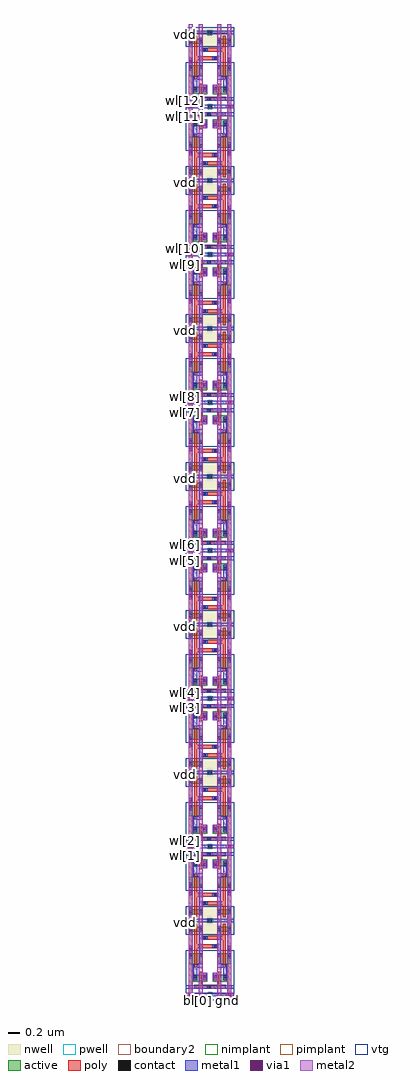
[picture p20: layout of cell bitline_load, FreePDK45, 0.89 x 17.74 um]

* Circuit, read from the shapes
.subckt bitline_load bl[0] br[0] gnd vdd wl[0] wl[10] wl[11] wl[12] wl[1] wl[2] wl[3] wl[4] wl[5] wl[6] wl[7] wl[8] wl[9]
M1 n1 n2 gnd gnd nfet w=0.205u l=0.05u
M2 n3 n4 gnd gnd nfet w=0.205u l=0.05u
M3 n5 n6 gnd gnd nfet w=0.205u l=0.05u
M4 n7 n8 gnd gnd nfet w=0.205u l=0.05u
M5 n9 n10 gnd gnd nfet w=0.205u l=0.05u
M6 n11 n12 gnd gnd nfet w=0.205u l=0.05u
M7 n13 n14 gnd gnd nfet w=0.205u l=0.05u
M8 n15 n16 gnd gnd nfet w=0.205u l=0.05u
M9 n17 n18 gnd gnd nfet w=0.205u l=0.05u
M10 n19 n20 gnd gnd nfet w=0.205u l=0.05u
M11 n21 n22 gnd gnd nfet w=0.205u l=0.05u
M12 n23 n24 gnd gnd nfet w=0.205u l=0.05u
M13 n25 n26 gnd gnd nfet w=0.205u l=0.05u
M14 bl[0] wl[0] n1 gnd nfet w=0.135u l=0.05u
M15 bl[0] wl[1] n3 gnd nfet w=0.135u l=0.05u
M16 bl[0] wl[2] n5 gnd nfet w=0.135u l=0.05u
M17 bl[0] wl[3] n7 gnd nfet w=0.135u l=0.05u
M18 bl[0] wl[4] n9 gnd nfet w=0.135u l=0.05u
M19 bl[0] wl[5] n11 gnd nfet w=0.135u l=0.05u
M20 bl[0] wl[6] n13 gnd nfet w=0.135u l=0.05u
M21 bl[0] wl[7] n15 gnd nfet w=0.135u l=0.05u
M22 bl[0] wl[8] n17 gnd nfet w=0.135u l=0.05u
M23 bl[0] wl[9] n19 gnd nfet w=0.135u l=0.05u
M24 bl[0] wl[10] n21 gnd nfet w=0.135u l=0.05u
M25 bl[0] wl[11] n23 gnd nfet w=0.135u l=0.05u
M26 bl[0] wl[12] n25 gnd nfet w=0.135u l=0.05u
M27 n2 wl[0] br[0] gnd nfet w=0.135u l=0.05u
M28 n4 wl[1] br[0] gnd nfet w=0.135u l=0.05u
M29 n6 wl[2] br[0] gnd nfet w=0.135u l=0.05u
M30 n8 wl[3] br[0] gnd nfet w=0.135u l=0.05u
M31 n10 wl[4] br[0] gnd nfet w=0.135u l=0.05u
M32 n12 wl[5] br[0] gnd nfet w=0.135u l=0.05u
M33 n14 wl[6] br[0] gnd nfet w=0.135u l=0.05u
M34 n16 wl[7] br[0] gnd nfet w=0.135u l=0.05u
M35 n18 wl[8] br[0] gnd nfet w=0.135u l=0.05u
M36 n20 wl[9] br[0] gnd nfet w=0.135u l=0.05u
M37 n22 wl[10] br[0] gnd nfet w=0.135u l=0.05u
M38 n24 wl[11] br[0] gnd nfet w=0.135u l=0.05u
M39 n26 wl[12] br[0] gnd nfet w=0.135u l=0.05u
M40 gnd n1 n2 gnd nfet w=0.205u l=0.05u
M41 gnd n3 n4 gnd nfet w=0.205u l=0.05u
M42 gnd n5 n6 gnd nfet w=0.205u l=0.05u
M43 gnd n7 n8 gnd nfet w=0.205u l=0.05u
M44 gnd n9 n10 gnd nfet w=0.205u l=0.05u
M45 gnd n11 n12 gnd nfet w=0.205u l=0.05u
M46 gnd n13 n14 gnd nfet w=0.205u l=0.05u
M47 gnd n15 n16 gnd nfet w=0.205u l=0.05u
M48 gnd n17 n18 gnd nfet w=0.205u l=0.05u
M49 gnd n19 n20 gnd nfet w=0.205u l=0.05u
M50 gnd n21 n22 gnd nfet w=0.205u l=0.05u
M51 gnd n23 n24 gnd nfet w=0.205u l=0.05u
M52 gnd n25 n26 gnd nfet w=0.205u l=0.05u
M53 n1 n2 vdd vdd pfet w=0.09u l=0.05u
M54 n3 n4 vdd vdd pfet w=0.09u l=0.05u
M55 n5 n6 vdd vdd pfet w=0.09u l=0.05u
M56 n7 n8 vdd vdd pfet w=0.09u l=0.05u
M57 n9 n10 vdd vdd pfet w=0.09u l=0.05u
M58 n11 n12 vdd vdd pfet w=0.09u l=0.05u
M59 n13 n14 vdd vdd pfet w=0.09u l=0.05u
M60 n15 n16 vdd vdd pfet w=0.09u l=0.05u
M61 n17 n18 vdd vdd pfet w=0.09u l=0.05u
M62 n19 n20 vdd vdd pfet w=0.09u l=0.05u
M63 n21 n22 vdd vdd pfet w=0.09u l=0.05u
M64 n23 n24 vdd vdd pfet w=0.09u l=0.05u
M65 n25 n26 vdd vdd pfet w=0.09u l=0.05u
M66 vdd n1 n2 vdd pfet w=0.09u l=0.05u
M67 vdd n3 n4 vdd pfet w=0.09u l=0.05u
M68 vdd n5 n6 vdd pfet w=0.09u l=0.05u
M69 vdd n7 n8 vdd pfet w=0.09u l=0.05u
M70 vdd n9 n10 vdd pfet w=0.09u l=0.05u
M71 vdd n11 n12 vdd pfet w=0.09u l=0.05u
M72 vdd n13 n14 vdd pfet w=0.09u l=0.05u
M73 vdd n15 n16 vdd pfet w=0.09u l=0.05u
M74 vdd n17 n18 vdd pfet w=0.09u l=0.05u
M75 vdd n19 n20 vdd pfet w=0.09u l=0.05u
M76 vdd n21 n22 vdd pfet w=0.09u l=0.05u
M77 vdd n23 n24 vdd pfet w=0.09u l=0.05u
M78 vdd n25 n26 vdd pfet w=0.09u l=0.05u
.ends

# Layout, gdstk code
import gdstk
lib = gdstk.Library(unit=1e-6, precision=5e-10)
def R(c, l, rs):  # rectangles x0, y0, x1, y1
    for r in rs: c.add(gdstk.rectangle(r[:2], r[2:], *l))
active = (1, 0)
pwell = (2, 0)
nwell = (3, 0)
nimplant = (4, 0)
pimplant = (5, 0)
vtg = (6, 0)
poly = (9, 0)
contact = (10, 0)
metal1 = (11, 0)
via1 = (12, 0)
metal2 = (13, 0)
boundary2 = (239, 0)

cell_6t = lib.new_cell('cell_6t')
R(cell_6t, active, [(0.3075,-0.045,0.3975,0.045), (0.3075,-0.045,0.3975,0.045), (0.045,0.2275,0.305,0.3625), (0.045,0.2275,0.12,0.3625), (0.045,0.2275,0.12,0.3625), (0.23,0.2275,0.305,0.3625), (0.23,0.2275,0.305,0.3625), (0.4,0.2275,0.66,0.3625), (0.4,0.2275,0.475,0.3625), (0.4,0.2275,0.475,0.3625), (0.585,0.2275,0.66,0.3625), (0.585,0.2275,0.66,0.3625), (0.045,0.2875,0.12,0.3625), (0.23,0.2875,0.305,0.3625), (0.4,0.2875,0.475,0.3625), (0.585,0.2875,0.66,0.3625), (-0.035,0.5475,0.225,0.7525), (-0.035,0.5475,0.04,0.7525), (-0.035,0.5475,0.04,0.7525), (0.15,0.5475,0.225,0.7525), (0.15,0.5475,0.225,0.7525), (0.48,0.5475,0.74,0.7525), (0.48,0.5475,0.555,0.7525), (0.48,0.5475,0.555,0.7525), (0.665,0.5475,0.74,0.7525), (0.665,0.5475,0.74,0.7525), (-0.035,0.6775,0.04,0.7525), (0.15,0.6775,0.225,0.7525), (0.48,0.6775,0.555,0.7525), (0.665,0.6775,0.74,0.7525), (-0.035,1.1425,0.04,1.2175), (-0.035,1.1425,0.225,1.2325), (-0.035,1.1425,0.04,1.2325), (-0.035,1.1425,0.04,1.2325), (0.15,1.1425,0.225,1.2175), (0.15,1.1425,0.225,1.2325), (0.15,1.1425,0.225,1.2325), (0.48,1.1425,0.555,1.2175), (0.48,1.1425,0.74,1.2325), (0.48,1.1425,0.555,1.2325), (0.48,1.1425,0.555,1.2325), (0.665,1.1425,0.74,1.2175), (0.665,1.1425,0.74,1.2325), (0.665,1.1425,0.74,1.2325), (0.3025,1.3,0.3925,1.39), (0.3025,1.3,0.3925,1.39)])
R(cell_6t, pwell, [(-0.09,-0.1,0.795,0.8075), (0.2525,-0.1,0.4525,0.1), (0.2525,-0.1,0.4525,0.1), (-0.01,0.1725,0.36,0.4175), (0.345,0.1725,0.715,0.4175), (-0.09,0.4925,0.28,0.8075), (0.425,0.4925,0.795,0.8075)])
R(cell_6t, nwell, [(-0.09,1.0875,0.28,1.2875), (-0.09,1.0875,0.795,1.445), (0.425,1.0875,0.795,1.2875), (0.2475,1.245,0.4475,1.445), (0.2475,1.245,0.4475,1.445)])
R(cell_6t, nimplant, [(0.045,0.2275,0.305,0.3625), (0.4,0.2275,0.66,0.3625), (-0.035,0.5475,0.225,0.7525), (0.48,0.5475,0.74,0.7525), (0.3025,1.3,0.3925,1.39), (0.3025,1.3,0.3925,1.39)])
R(cell_6t, pimplant, [(0.3075,-0.045,0.3975,0.045), (0.3075,-0.045,0.3975,0.045), (-0.035,1.1425,0.225,1.2325), (0.48,1.1425,0.74,1.2325)])
R(cell_6t, vtg, [(-0.09,-0.1,0.795,0.8075), (-0.01,0.1725,0.36,0.4175), (0.345,0.1725,0.715,0.4175), (-0.09,0.4925,0.28,0.8075), (0.425,0.4925,0.795,0.8075), (-0.09,1.0875,0.28,1.2875), (-0.09,1.0875,0.795,1.445), (0.425,1.0875,0.795,1.2875)])
R(cell_6t, poly, [(0.07,0.1025,0.635,0.1775), (0.2975,0.1025,0.3725,0.1775), (0.15,0.1725,0.2,0.2275), (0.15,0.1725,0.2,0.4175), (0.505,0.1725,0.555,0.2275), (0.505,0.1725,0.555,0.4175), (0.15,0.3625,0.2,0.4175), (0.505,0.3625,0.555,0.4175), (0.07,0.4925,0.12,0.5475), (0.07,0.4925,0.12,0.8075), (0.585,0.4925,0.635,0.5475), (0.585,0.4925,0.635,0.8075), (0.07,0.7525,0.12,0.8075), (0.585,0.7525,0.635,0.8075), (0.07,0.8075,0.12,1.0875), (0.07,0.8075,0.12,1.0875), (0.585,0.8075,0.635,1.0875), (0.585,0.8075,0.635,1.0875), (0.07,0.8425,0.5025,0.9175), (0.4275,0.8425,0.5025,0.9175), (0.4275,0.8425,0.5025,0.9175), (0.2025,0.9925,0.2775,1.0675), (0.2025,0.9925,0.2775,1.0675), (0.2025,0.9925,0.635,1.0675), (0.07,1.0875,0.12,1.1425), (0.07,1.0875,0.12,1.2875), (0.585,1.0875,0.635,1.1425), (0.585,1.0875,0.635,1.2875), (0.07,1.2325,0.12,1.2875), (0.585,1.2325,0.635,1.2875)])
R(cell_6t, contact, [(0.32,-0.0325,0.385,0.0325), (0.32,-0.0325,0.385,0.0325), (0.3025,0.1075,0.3675,0.1725), (0.05,0.2925,0.115,0.3575), (0.235,0.2925,0.3,0.3575), (0.405,0.2925,0.47,0.3575), (0.59,0.2925,0.655,0.3575), (-0.03,0.6825,0.035,0.7475), (0.155,0.6825,0.22,0.7475), (0.485,0.6825,0.55,0.7475), (0.67,0.6825,0.735,0.7475), (0.4325,0.8475,0.4975,0.9125), (0.4325,0.8475,0.4975,0.9125), (0.2075,0.9975,0.2725,1.0625), (0.2075,0.9975,0.2725,1.0625), (-0.03,1.1475,0.035,1.2125), (0.155,1.1475,0.22,1.2125), (0.485,1.1475,0.55,1.2125), (0.67,1.1475,0.735,1.2125), (0.315,1.3125,0.38,1.3775), (0.315,1.3125,0.38,1.3775)])
R(cell_6t, metal1, [(-0.09,-0.0325,0.795,0.0325), (-0.09,-0.0325,0.795,0.0325), (-0.0675,-0.0325,0.0675,0.0325), (-0.0675,-0.0325,0.0675,0.0325), (0.285,-0.0325,0.42,0.0325), (0.285,-0.0325,0.42,0.0325), (0.6375,-0.0325,0.7725,0.0325), (0.6375,-0.0325,0.7725,0.0325), (0.6375,-0.0325,0.7725,0.0325), (0.6375,-0.0325,0.7725,0.0325), (-0.09,0.1075,0.795,0.1725), (-0.09,0.1075,0.795,0.1725), (0.2675,0.1075,0.4025,0.1725), (-0.085,0.11,-0.0325,0.1725), (0.62,0.11,0.6725,0.1725), (0.05,0.2575,0.115,0.3925), (0.05,0.2575,0.12,0.5475), (0.2225,0.2575,0.2875,0.3925), (0.235,0.2575,0.3,0.3925), (0.405,0.2575,0.47,0.3925), (0.4175,0.2575,0.4825,0.3925), (0.59,0.2575,0.655,0.3925), (0.59,0.2575,0.66,0.5475), (0.05,0.4825,0.22,0.5475), (0.155,0.4825,0.22,1.2225), (0.485,0.4825,0.66,0.5475), (0.485,0.4825,0.55,1.1125), (-0.035,0.6475,0.035,0.7825), (-0.035,0.6475,0.035,0.7825), (-0.03,0.6475,0.035,0.7825), (0.155,0.6475,0.22,0.7825), (0.485,0.6475,0.55,0.7825), (0.67,0.6475,0.735,0.7825), (0.67,0.6475,0.74,0.7825), (0.67,0.6475,0.74,0.7825), (0.67,0.6475,0.74,0.7825), (0.67,0.6475,0.74,0.7825), (0.67,0.6475,0.74,0.7825), (0.67,0.6475,0.74,0.7825), (-0.0325,0.75,0.0325,0.885), (-0.0325,0.75,0.0325,0.885), (-0.0325,0.75,0.0325,0.885), (-0.0325,0.75,0.0325,0.885), (-0.0325,0.75,0.0325,0.885), (-0.0325,0.75,0.0325,0.885), (0.6725,0.75,0.7375,0.885), (0.6725,0.75,0.7375,0.885), (0.6725,0.75,0.7375,0.885), (0.6725,0.75,0.7375,0.885), (0.6725,0.75,0.7375,0.885), (0.6725,0.75,0.7375,0.885), (0.6725,0.75,0.7375,0.885), (0.6725,0.75,0.7375,0.885), (0.6725,0.75,0.7375,0.885), (0.6725,0.75,0.7375,0.885), (0.6725,0.75,0.7375,0.885), (0.6725,0.75,0.7375,0.885), (0.6725,0.75,0.7375,0.885), (0.6725,0.75,0.7375,0.885), (0.6725,0.75,0.7375,0.885), (0.6725,0.75,0.7375,0.885), (0.6725,0.75,0.7375,0.885), (0.6725,0.75,0.7375,0.885), (0.6725,0.75,0.7375,0.885), (0.6725,0.75,0.7375,0.885), (0.6725,0.75,0.7375,0.885), (0.6725,0.75,0.7375,0.885), (0.6725,0.75,0.7375,0.885), (0.6725,0.75,0.7375,0.885), (0.3975,0.8475,0.5325,0.9125), (0.3975,0.8475,0.5325,0.9125), (0.1725,0.9975,0.3075,1.0625), (0.1725,0.9975,0.3075,1.0625), (-0.035,1.1125,0.035,1.3125), (-0.03,1.1125,0.035,1.2475), (0.155,1.1125,0.22,1.2475), (0.485,1.1125,0.55,1.2475), (0.67,1.1125,0.735,1.2475), (0.67,1.1125,0.74,1.3125), (0.67,1.1125,0.74,1.3125), (-0.09,1.3125,0.795,1.3775), (-0.09,1.3125,0.795,1.3775), (0.28,1.3125,0.415,1.3775), (0.28,1.3125,0.415,1.3775), (0.2925,1.3125,0.3925,1.375), (0.2925,1.3125,0.3925,1.375), (0.2925,1.315,0.3925,1.3775), (0.2925,1.315,0.3925,1.3775)])
R(cell_6t, via1, [(-0.0325,-0.0325,0.0325,0.0325), (-0.0325,-0.0325,0.0325,0.0325), (0.6725,-0.0325,0.7375,0.0325), (0.6725,-0.0325,0.7375,0.0325), (0.6725,-0.0325,0.7375,0.0325), (0.6725,-0.0325,0.7375,0.0325), (0.2225,0.2925,0.2875,0.3575), (0.4175,0.2925,0.4825,0.3575), (-0.0325,0.785,0.0325,0.85), (-0.0325,0.785,0.0325,0.85), (-0.0325,0.785,0.0325,0.85), (-0.0325,0.785,0.0325,0.85), (-0.0325,0.785,0.0325,0.85), (-0.0325,0.785,0.0325,0.85), (0.6725,0.785,0.7375,0.85), (0.6725,0.785,0.7375,0.85), (0.6725,0.785,0.7375,0.85), (0.6725,0.785,0.7375,0.85), (0.6725,0.785,0.7375,0.85), (0.6725,0.785,0.7375,0.85), (0.6725,0.785,0.7375,0.85), (0.6725,0.785,0.7375,0.85), (0.6725,0.785,0.7375,0.85), (0.6725,0.785,0.7375,0.85), (0.6725,0.785,0.7375,0.85), (0.6725,0.785,0.7375,0.85), (0.6725,0.785,0.7375,0.85), (0.6725,0.785,0.7375,0.85), (0.6725,0.785,0.7375,0.85), (0.6725,0.785,0.7375,0.85), (0.6725,0.785,0.7375,0.85), (0.6725,0.785,0.7375,0.85), (0.6725,0.785,0.7375,0.85), (0.6725,0.785,0.7375,0.85), (0.6725,0.785,0.7375,0.85), (0.6725,0.785,0.7375,0.85), (0.6725,0.785,0.7375,0.85), (0.6725,0.785,0.7375,0.85)])
R(cell_6t, metal2, [(-0.035,-0.1,0.035,1.445), (-0.035,-0.1,0.035,1.445), (0.15,-0.1,0.22,1.445), (0.15,-0.1,0.22,1.445), (0.485,-0.1,0.555,1.445), (0.485,-0.1,0.555,1.445), (0.67,-0.1,0.74,1.445), (0.67,-0.1,0.74,1.445), (-0.0675,-0.035,0.0675,0.035), (-0.0675,-0.035,0.0675,0.035), (0.6375,-0.035,0.7725,0.035), (0.6375,-0.035,0.7725,0.035), (0.6375,-0.035,0.7725,0.035), (0.6375,-0.035,0.7725,0.035), (0.4925,-0.0325,0.55,0.0275), (0.67,-0.0325,0.74,1.3775), (-0.03,-0.03,0.03,0.0275), (0.1575,-0.025,0.2125,0.0275), (0.675,-0.025,0.735,0.0325), (0.22,0.2575,0.29,0.3925), (0.415,0.2575,0.485,0.3925), (-0.035,0.75,0.035,0.885), (-0.035,0.75,0.035,0.885), (-0.035,0.75,0.035,0.885), (-0.035,0.75,0.035,0.885), (-0.035,0.75,0.035,0.885), (-0.035,0.75,0.035,0.885), (0.67,0.75,0.74,0.885), (0.67,0.75,0.74,0.885), (0.67,0.75,0.74,0.885), (0.67,0.75,0.74,0.885), (0.67,0.75,0.74,0.885), (0.67,0.75,0.74,0.885), (0.67,0.75,0.74,0.885), (0.67,0.75,0.74,0.885), (0.67,0.75,0.74,0.885), (0.67,0.75,0.74,0.885), (0.67,0.75,0.74,0.885), (0.67,0.75,0.74,0.885), (0.67,0.75,0.74,0.885), (0.67,0.75,0.74,0.885), (0.67,0.75,0.74,0.885), (0.67,0.75,0.74,0.885), (0.67,0.75,0.74,0.885), (0.67,0.75,0.74,0.885), (0.67,0.75,0.74,0.885), (0.67,0.75,0.74,0.885), (0.67,0.75,0.74,0.885), (0.67,0.75,0.74,0.885), (0.67,0.75,0.74,0.885), (0.67,0.75,0.74,0.885)])
R(cell_6t, boundary2, [(0,0,0.705,1.345)])
cell_6t.add(gdstk.Label('gnd', (0,0.0175), layer=13, texttype=0))
cell_6t.add(gdstk.Label('gnd', (0.7025,0.015), layer=13, texttype=0))
cell_6t.add(gdstk.Label('BR', (0.52,0.0025), layer=13, texttype=0))
cell_6t.add(gdstk.Label('BL', (0.19,0.0025), layer=13, texttype=0))
cell_6t.add(gdstk.Label('l = 0.05', (0.645,1.1875), layer=230, texttype=0))
cell_6t.add(gdstk.Label('w = 0.09', (0.61,1.2975), layer=230, texttype=0))
cell_6t.add(gdstk.Label('l = 0.05', (0.06,1.1875), layer=230, texttype=0))
cell_6t.add(gdstk.Label('w = 0.09', (0.095,1.2975), layer=230, texttype=0))
cell_6t.add(gdstk.Label('l = 0.05', (0.575,0.65), layer=230, texttype=0))
cell_6t.add(gdstk.Label('w = 0.21', (0.61,0.4825), layer=230, texttype=0))
cell_6t.add(gdstk.Label('l = 0.05', (0.13,0.65), layer=230, texttype=0))
cell_6t.add(gdstk.Label('w = 0.21', (0.095,0.4825), layer=230, texttype=0))
cell_6t.add(gdstk.Label('l = 0.05', (0.565,0.295), layer=230, texttype=0))
cell_6t.add(gdstk.Label('w = 0.14', (0.53,0.1625), layer=230, texttype=0))
cell_6t.add(gdstk.Label('l = 0.05', (0.21,0.295), layer=230, texttype=0))
cell_6t.add(gdstk.Label('w = 0.14', (0.175,0.1625), layer=230, texttype=0))
cell_6t.add(gdstk.Label('vdd', (0.3425,1.355), layer=11, texttype=0))
cell_6t.add(gdstk.Label('WL', (-0.05,0.1475), layer=11, texttype=0))
cell_6t.add(gdstk.Label('gnd', (0.0875,-0.0075), layer=11, texttype=0))
cell_6t.add(gdstk.Label('BL', (0.15,-0.1), layer=13, texttype=0))
cell_6t.add(gdstk.Label('WL', (-0.09,0.1075), layer=11, texttype=0))
cell_6t.add(gdstk.Label('gnd', (-0.035,-0.1), layer=13, texttype=0))
cell_6t.add(gdstk.Label('gnd', (0.67,-0.1), layer=13, texttype=0))
cell_6t.add(gdstk.Label('gnd', (-0.09,-0.0325), layer=11, texttype=0))
cell_6t.add(gdstk.Label('vdd', (-0.09,1.3125), layer=11, texttype=0))
cell_6t.add(gdstk.Label('BR', (0.485,-0.1), layer=13, texttype=0))

bitline_load = lib.new_cell('bitline_load')
R(bitline_load, metal1, [(-0.09,-0.0325,0.795,0.0325), (-0.09,-0.0325,0.795,0.0325), (-0.09,0.1075,0.795,0.1725), (-0.09,0.1075,0.795,0.1725), (-0.09,1.3125,0.795,1.3775), (-0.09,1.3125,0.795,1.3775), (-0.09,2.5175,0.795,2.5825), (-0.09,2.5175,0.795,2.5825), (-0.09,2.6575,0.795,2.7225), (-0.09,2.6575,0.795,2.7225), (-0.09,2.7975,0.795,2.8625), (-0.09,2.7975,0.795,2.8625), (-0.09,4.0025,0.795,4.0675), (-0.09,4.0025,0.795,4.0675), (-0.09,5.2075,0.795,5.2725), (-0.09,5.2075,0.795,5.2725), (-0.09,5.3475,0.795,5.4125), (-0.09,5.3475,0.795,5.4125), (-0.09,5.4875,0.795,5.5525), (-0.09,5.4875,0.795,5.5525), (-0.09,6.6925,0.795,6.7575), (-0.09,6.6925,0.795,6.7575), (-0.09,7.8975,0.795,7.9625), (-0.09,7.8975,0.795,7.9625), (-0.09,8.0375,0.795,8.1025), (-0.09,8.0375,0.795,8.1025), (-0.09,8.1775,0.795,8.2425), (-0.09,8.1775,0.795,8.2425), (-0.09,9.3825,0.795,9.4475), (-0.09,9.3825,0.795,9.4475), (-0.09,10.5875,0.795,10.6525), (-0.09,10.5875,0.795,10.6525), (-0.09,10.7275,0.795,10.7925), (-0.09,10.7275,0.795,10.7925), (-0.09,10.8675,0.795,10.9325), (-0.09,10.8675,0.795,10.9325), (-0.09,12.0725,0.795,12.1375), (-0.09,12.0725,0.795,12.1375), (-0.09,13.2775,0.795,13.3425), (-0.09,13.2775,0.795,13.3425), (-0.09,13.4175,0.795,13.4825), (-0.09,13.4175,0.795,13.4825), (-0.09,13.5575,0.795,13.6225), (-0.09,13.5575,0.795,13.6225), (-0.09,14.7625,0.795,14.8275), (-0.09,14.7625,0.795,14.8275), (-0.09,15.9675,0.795,16.0325), (-0.09,15.9675,0.795,16.0325), (-0.09,16.1075,0.795,16.1725), (-0.09,16.1075,0.795,16.1725), (-0.09,16.2475,0.795,16.3125), (-0.09,16.2475,0.795,16.3125), (-0.09,17.4525,0.795,17.5175), (-0.09,17.4525,0.795,17.5175)])
R(bitline_load, metal2, [(-0.035,-0.1,0.035,17.64), (-0.035,-0.1,0.035,17.64), (0.15,-0.1,0.22,17.64), (0.15,-0.1,0.22,17.64), (0.485,-0.1,0.555,17.64), (0.485,-0.1,0.555,17.64), (0.67,-0.1,0.74,17.64), (0.67,-0.1,0.74,17.64)])
bitline_load.add(gdstk.Reference(cell_6t, (0,0)))
bitline_load.add(gdstk.Reference(cell_6t, (0,2.69), x_reflection=True))
bitline_load.add(gdstk.Reference(cell_6t, (0,2.69)))
bitline_load.add(gdstk.Reference(cell_6t, (0,5.38), x_reflection=True))
bitline_load.add(gdstk.Reference(cell_6t, (0,5.38)))
bitline_load.add(gdstk.Reference(cell_6t, (0,8.07), x_reflection=True))
bitline_load.add(gdstk.Reference(cell_6t, (0,8.07)))
bitline_load.add(gdstk.Reference(cell_6t, (0,10.76), x_reflection=True))
bitline_load.add(gdstk.Reference(cell_6t, (0,10.76)))
bitline_load.add(gdstk.Reference(cell_6t, (0,13.45), x_reflection=True))
bitline_load.add(gdstk.Reference(cell_6t, (0,13.45)))
bitline_load.add(gdstk.Reference(cell_6t, (0,16.14), x_reflection=True))
bitline_load.add(gdstk.Reference(cell_6t, (0,16.14)))
bitline_load.add(gdstk.Reference(cell_6t, (0,0)))
bitline_load.add(gdstk.Reference(cell_6t, (0,2.69), x_reflection=True))
bitline_load.add(gdstk.Reference(cell_6t, (0,2.69)))
bitline_load.add(gdstk.Reference(cell_6t, (0,5.38), x_reflection=True))
bitline_load.add(gdstk.Reference(cell_6t, (0,5.38)))
bitline_load.add(gdstk.Reference(cell_6t, (0,8.07), x_reflection=True))
bitline_load.add(gdstk.Reference(cell_6t, (0,8.07)))
bitline_load.add(gdstk.Reference(cell_6t, (0,10.76), x_reflection=True))
bitline_load.add(gdstk.Reference(cell_6t, (0,10.76)))
bitline_load.add(gdstk.Reference(cell_6t, (0,13.45), x_reflection=True))
bitline_load.add(gdstk.Reference(cell_6t, (0,13.45)))
bitline_load.add(gdstk.Reference(cell_6t, (0,16.14), x_reflection=True))
bitline_load.add(gdstk.Reference(cell_6t, (0,16.14)))
bitline_load.add(gdstk.Label('wl[3]', (-0.09,5.2075), layer=11, texttype=0))
bitline_load.add(gdstk.Label('wl[4]', (-0.09,5.4875), layer=11, texttype=0))
bitline_load.add(gdstk.Label('bl[0]', (0.15,-0.1), layer=13, texttype=0))
bitline_load.add(gdstk.Label('wl[5]', (-0.09,7.8975), layer=11, texttype=0))
bitline_load.add(gdstk.Label('wl[0]', (-0.09,0.1075), layer=11, texttype=0))
bitline_load.add(gdstk.Label('wl[1]', (-0.09,2.5175), layer=11, texttype=0))
bitline_load.add(gdstk.Label('wl[2]', (-0.09,2.7975), layer=11, texttype=0))
bitline_load.add(gdstk.Label('wl[11]', (-0.09,15.9675), layer=11, texttype=0))
bitline_load.add(gdstk.Label('wl[8]', (-0.09,10.8675), layer=11, texttype=0))
bitline_load.add(gdstk.Label('wl[10]', (-0.09,13.5575), layer=11, texttype=0))
bitline_load.add(gdstk.Label('wl[9]', (-0.09,13.2775), layer=11, texttype=0))
bitline_load.add(gdstk.Label('vdd', (-0.09,1.3125), layer=11, texttype=0))
bitline_load.add(gdstk.Label('vdd', (-0.09,4.0025), layer=11, texttype=0))
bitline_load.add(gdstk.Label('vdd', (-0.09,6.6925), layer=11, texttype=0))
bitline_load.add(gdstk.Label('vdd', (-0.09,9.3825), layer=11, texttype=0))
bitline_load.add(gdstk.Label('vdd', (-0.09,12.0725), layer=11, texttype=0))
bitline_load.add(gdstk.Label('vdd', (-0.09,14.7625), layer=11, texttype=0))
bitline_load.add(gdstk.Label('vdd', (-0.09,17.4525), layer=11, texttype=0))
bitline_load.add(gdstk.Label('gnd', (-0.035,-0.1), layer=13, texttype=0))
bitline_load.add(gdstk.Label('gnd', (0.67,-0.1), layer=13, texttype=0))
bitline_load.add(gdstk.Label('gnd', (-0.09,-0.0325), layer=11, texttype=0))
bitline_load.add(gdstk.Label('gnd', (-0.09,2.6575), layer=11, texttype=0))
bitline_load.add(gdstk.Label('gnd', (-0.09,5.3475), layer=11, texttype=0))
bitline_load.add(gdstk.Label('gnd', (-0.09,8.0375), layer=11, texttype=0))
bitline_load.add(gdstk.Label('gnd', (-0.09,10.7275), layer=11, texttype=0))
bitline_load.add(gdstk.Label('gnd', (-0.09,13.4175), layer=11, texttype=0))
bitline_load.add(gdstk.Label('gnd', (-0.09,16.1075), layer=11, texttype=0))
bitline_load.add(gdstk.Label('br[0]', (0.485,-0.1), layer=13, texttype=0))
bitline_load.add(gdstk.Label('wl[12]', (-0.09,16.2475), layer=11, texttype=0))
bitline_load.add(gdstk.Label('wl[6]', (-0.09,8.1775), layer=11, texttype=0))
bitline_load.add(gdstk.Label('wl[7]', (-0.09,10.5875), layer=11, texttype=0))
bitline_load.add(gdstk.Label('wl[3]', (-0.09,5.2075), layer=11, texttype=0))
bitline_load.add(gdstk.Label('wl[4]', (-0.09,5.4875), layer=11, texttype=0))
bitline_load.add(gdstk.Label('bl[0]', (0.15,-0.1), layer=13, texttype=0))
bitline_load.add(gdstk.Label('wl[5]', (-0.09,7.8975), layer=11, texttype=0))
bitline_load.add(gdstk.Label('wl[0]', (-0.09,0.1075), layer=11, texttype=0))
bitline_load.add(gdstk.Label('wl[1]', (-0.09,2.5175), layer=11, texttype=0))
bitline_load.add(gdstk.Label('wl[2]', (-0.09,2.7975), layer=11, texttype=0))
bitline_load.add(gdstk.Label('wl[11]', (-0.09,15.9675), layer=11, texttype=0))
bitline_load.add(gdstk.Label('wl[8]', (-0.09,10.8675), layer=11, texttype=0))
bitline_load.add(gdstk.Label('wl[10]', (-0.09,13.5575), layer=11, texttype=0))
bitline_load.add(gdstk.Label('wl[9]', (-0.09,13.2775), layer=11, texttype=0))
bitline_load.add(gdstk.Label('vdd', (-0.09,1.3125), layer=11, texttype=0))
bitline_load.add(gdstk.Label('vdd', (-0.09,4.0025), layer=11, texttype=0))
bitline_load.add(gdstk.Label('vdd', (-0.09,6.6925), layer=11, texttype=0))
bitline_load.add(gdstk.Label('vdd', (-0.09,9.3825), layer=11, texttype=0))
bitline_load.add(gdstk.Label('vdd', (-0.09,12.0725), layer=11, texttype=0))
bitline_load.add(gdstk.Label('vdd', (-0.09,14.7625), layer=11, texttype=0))
bitline_load.add(gdstk.Label('vdd', (-0.09,17.4525), layer=11, texttype=0))
bitline_load.add(gdstk.Label('gnd', (-0.035,-0.1), layer=13, texttype=0))
bitline_load.add(gdstk.Label('gnd', (0.67,-0.1), layer=13, texttype=0))
bitline_load.add(gdstk.Label('gnd', (-0.09,-0.0325), layer=11, texttype=0))
bitline_load.add(gdstk.Label('gnd', (-0.09,2.6575), layer=11, texttype=0))
bitline_load.add(gdstk.Label('gnd', (-0.09,5.3475), layer=11, texttype=0))
bitline_load.add(gdstk.Label('gnd', (-0.09,8.0375), layer=11, texttype=0))
bitline_load.add(gdstk.Label('gnd', (-0.09,10.7275), layer=11, texttype=0))
bitline_load.add(gdstk.Label('gnd', (-0.09,13.4175), layer=11, texttype=0))
bitline_load.add(gdstk.Label('gnd', (-0.09,16.1075), layer=11, texttype=0))
bitline_load.add(gdstk.Label('br[0]', (0.485,-0.1), layer=13, texttype=0))
bitline_load.add(gdstk.Label('wl[12]', (-0.09,16.2475), layer=11, texttype=0))
bitline_load.add(gdstk.Label('wl[6]', (-0.09,8.1775), layer=11, texttype=0))
bitline_load.add(gdstk.Label('wl[7]', (-0.09,10.5875), layer=11, texttype=0))

lib.write_gds('bitline_load.gds')
